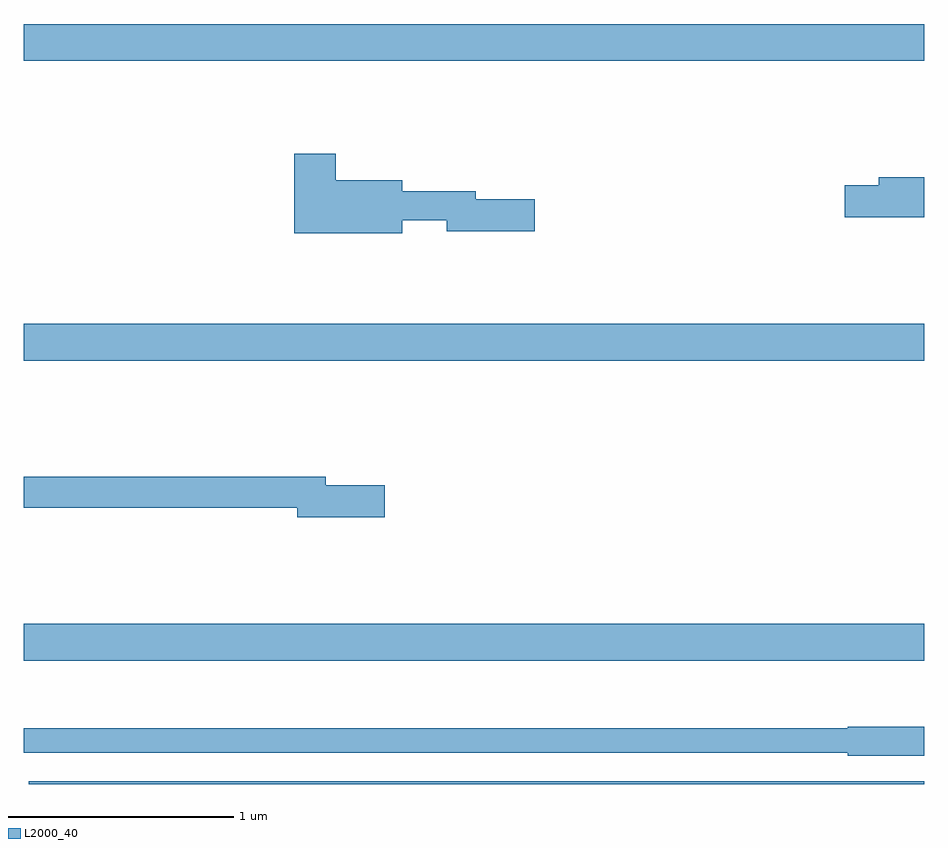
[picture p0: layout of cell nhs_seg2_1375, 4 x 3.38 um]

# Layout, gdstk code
import gdstk
lib = gdstk.Library(unit=1e-6, precision=1e-09)
def R(c, l, rs):  # rectangles x0, y0, x1, y1
    for r in rs: c.add(gdstk.rectangle(r[:2], r[2:], *l))
def A(c, l, x, y, w, h, nx, ny, dx, dy):  # array of equal rectangles
    R(c, l, [(x+i*dx, y+j*dy, x+i*dx+w, y+j*dy+h) for i in range(nx) for j in range(ny)])
def P(c, l, *ps):  # polygons
    for p in ps: c.add(gdstk.Polygon(p, *l))
L2000_40 = (2000, 40)

nhs_seg2_1375 = lib.new_cell('nhs_seg2_1375')
A(nhs_seg2_1375, L2000_40, 183, 602.348, 4, 0.164, 1, 3, 0, 1.332)
R(nhs_seg2_1375, L2000_40, [(183.023,601.8,187,601.812)])
P(nhs_seg2_1375, L2000_40, [(184.681,604.305),(184.88,604.305),(184.88,604.255),(185.269,604.255),(185.269,604.397),(185.008,604.397),(185.008,604.433),(184.681,604.433),(184.681,604.483),(184.385,604.483),(184.385,604.6),(184.202,604.6),(184.202,604.247),(184.681,604.247)],
  [(187,604.496),(186.797,604.496),(186.797,604.46),(186.648,604.46),(186.648,604.318),(187,604.318)],
  [(184.603,603.128),(184.342,603.128),(184.342,603.164),(183,603.164),(183,603.028),(184.214,603.028),(184.214,602.986),(184.603,602.986)],
  [(187,602.055),(186.66,602.055),(186.66,602.047),(183,602.047),(183,601.938),(186.66,601.938),(186.66,601.925),(187,601.925)])

lib.write_gds('nhs_seg2_1375.gds')
